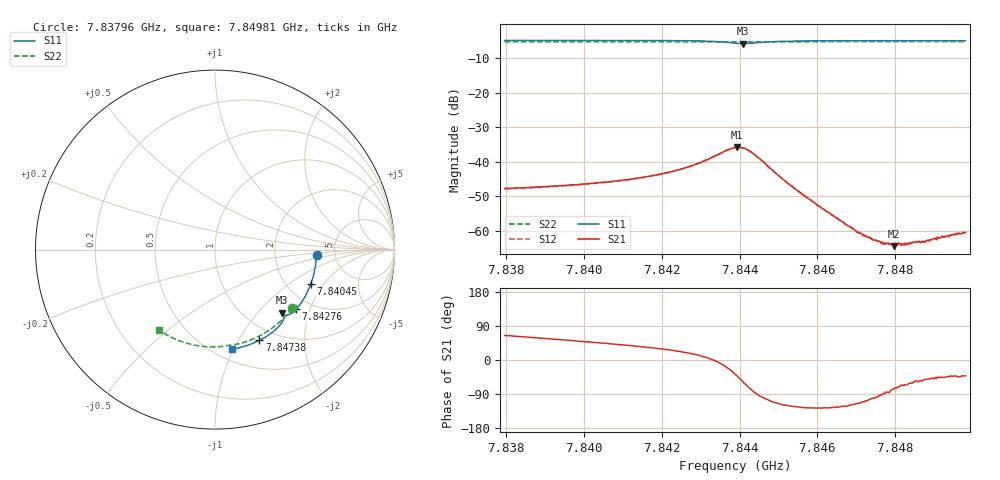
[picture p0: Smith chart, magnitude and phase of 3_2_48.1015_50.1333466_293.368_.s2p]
#  HZ  S  RI  R  50.00
! Rohde & Schwarz Vector Network Analyzer
! Rohde-Schwarz,ZNB20-2Port,1311601062101988,3.16
! Created: UTC 12/23/2023, 3:34:50 AM
! freq[Hz]  re:S11  im:S11  re:S21  im:S21  re:S12  im:S12  re:S22  im:S22
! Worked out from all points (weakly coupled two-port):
!   401 points, 7.83796 GHz to 7.84981 GHz, reference 50 ohm
!   highest |S21| = -35.86 dB at 7.84394 GHz (marker M1); lowest = -64.5 dB at 7.84797 GHz (marker M2)
!   lowest |S11| = -5.8 dB at 7.84409 GHz (marker M3), VSWR 3.09, Z = 71.2 - j67.7 ohm
!   |S11| at or under -10 dB: nowhere
!   |S22| runs from -5.4 to -5.3 dB; largest |S21 - S12| = 0.0003
!   S11 on the Smith chart (normalised r, x): 7.83796 GHz: 3.59, -0.31; 7.84045 GHz: 2.67, -1.51; 7.84276 GHz: 1.66, -1.62; 7.84738 GHz: 0.83, -1.23; 7.84981 GHz: 0.60, -0.98
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7.837957e9  0.5661 -0.0293  0.00174 0.00368  0.00173 0.00366  0.43 -0.3266
7.839943e9  0.5442 -0.1598  0.00311 0.00357  0.00303 0.00352  0.333 -0.426
7.840447e9  0.5336 -0.1921  0.00355 0.00351  0.0035 0.00349  0.3047 -0.4471
7.841928e9  0.4888 -0.2843  0.00566 0.00327  0.00559 0.00325  0.2138 -0.4976
7.842758e9  0.4514 -0.333  0.00829 0.00253  0.00828 0.00253  0.159 -0.5177
7.843469e9  0.4034 -0.3654  0.0126 -0.00153  0.0128 -0.00141  0.1102 -0.5292
7.843884e9  0.3727 -0.3602  0.0128 -0.00976  0.0127 -0.00956  0.0825 -0.5328
7.843943e9  0.3709 -0.3575  0.0118 -0.011  0.0118 -0.0109  0.0789 -0.5331
7.844091e9  0.3712 -0.3514  0.0083 -0.0133  0.00845 -0.0133  0.0696 -0.5345
7.844417e9  0.3833 -0.3575  0.000539 -0.0123  0.000698 -0.0122  0.0489 -0.5382
7.845188e9  0.3691 -0.4115  -0.00254 -0.00449  -0.00249 -0.00452  -0.00519 -0.5429
7.845869e9  0.3349 -0.448  -0.00159 -0.00213  -0.0016 -0.00217  -0.0533 -0.5411
7.847025e9  0.2687 -0.4941  -0.000394 -0.00086  -0.000437 -0.000847  -0.1337 -0.528
7.84738e9  0.2473 -0.5056  -0.000165 -0.000757  -0.000157 -0.000769  -0.1578 -0.5215
7.847677e9  0.2292 -0.5142  -7.49e-06 -0.000661  -1.08e-05 -0.000686  -0.1776 -0.5152
7.847855e9  0.2182 -0.5191  4.95e-05 -0.000625  6.38e-05 -0.000632  -0.1895 -0.5111
7.847973e9  0.211 -0.5221  0.000139 -0.00058  0.000135 -0.000631  -0.1972 -0.5083
7.84818e9  0.1978 -0.5273  0.000255 -0.000567  0.000228 -0.000567  -0.2108 -0.5029
7.848388e9  0.1849 -0.532  0.000307 -0.000579  0.00031 -0.000601  -0.2242 -0.4973
7.848743e9  0.1621 -0.5392  0.000422 -0.000526  0.000455 -0.000542  -0.2466 -0.4865
7.849129e9  0.1374 -0.5459  0.000542 -0.000572  0.000545 -0.000599  -0.2707 -0.4739
7.84981e9  0.0928 -0.5551  0.000704 -0.000627  0.000704 -0.000612  -0.3112 -0.4486
